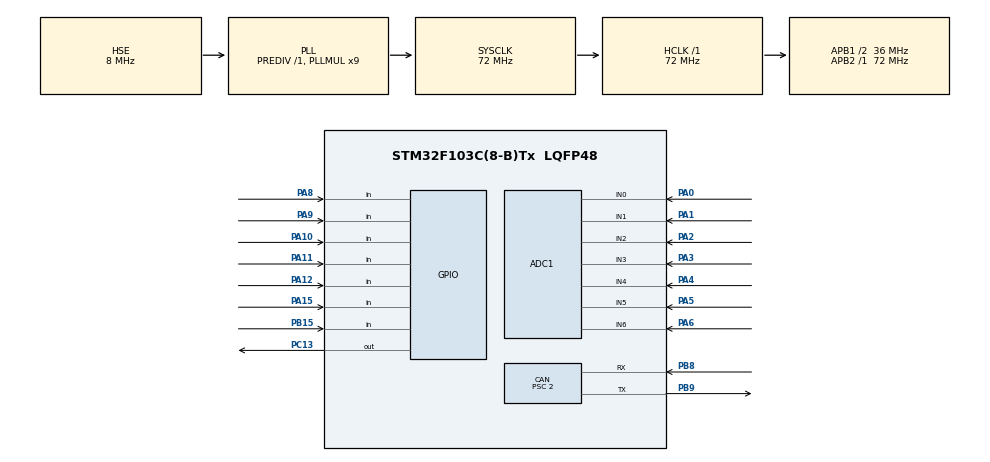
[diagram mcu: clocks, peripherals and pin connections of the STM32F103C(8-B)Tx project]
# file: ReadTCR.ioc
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ADC1.Channel-0\#ChannelRegularConversion=ADC_CHANNEL_0
ADC1.Channel-1\#ChannelRegularConversion=ADC_CHANNEL_1
ADC1.Channel-2\#ChannelRegularConversion=ADC_CHANNEL_2
ADC1.Channel-3\#ChannelRegularConversion=ADC_CHANNEL_3
ADC1.Channel-4\#ChannelRegularConversion=ADC_CHANNEL_4
ADC1.Channel-5\#ChannelRegularConversion=ADC_CHANNEL_5
ADC1.Channel-6\#ChannelRegularConversion=ADC_CHANNEL_6
ADC1.NbrOfConversion=7
ADC1.NbrOfConversionFlag=1
ADC1.Rank-0\#ChannelRegularConversion=1
ADC1.Rank-1\#ChannelRegularConversion=2
ADC1.Rank-2\#ChannelRegularConversion=3
ADC1.Rank-3\#ChannelRegularConversion=4
ADC1.Rank-4\#ChannelRegularConversion=5
ADC1.Rank-5\#ChannelRegularConversion=6
ADC1.Rank-6\#ChannelRegularConversion=7
ADC1.SamplingTime-0\#ChannelRegularConversion=ADC_SAMPLETIME_1CYCLE_5
ADC1.SamplingTime-1\#ChannelRegularConversion=ADC_SAMPLETIME_1CYCLE_5
ADC1.SamplingTime-2\#ChannelRegularConversion=ADC_SAMPLETIME_1CYCLE_5
ADC1.SamplingTime-3\#ChannelRegularConversion=ADC_SAMPLETIME_1CYCLE_5
ADC1.SamplingTime-4\#ChannelRegularConversion=ADC_SAMPLETIME_1CYCLE_5
ADC1.SamplingTime-5\#ChannelRegularConversion=ADC_SAMPLETIME_1CYCLE_5
ADC1.SamplingTime-6\#ChannelRegularConversion=ADC_SAMPLETIME_1CYCLE_5
ADC1.master=1
CAN.BS1=CAN_BS1_12TQ
CAN.BS2=CAN_BS2_8TQ
CAN.CalculateTimeBit=1166.66
CAN.CalculateTimeQuantum=55.55555555555556
CAN.Prescaler=2
Dma.ADC1.0.Direction=DMA_PERIPH_TO_MEMORY
Dma.ADC1.0.Instance=DMA1_Channel1
Dma.ADC1.0.MemDataAlignment=DMA_MDATAALIGN_HALFWORD
Dma.ADC1.0.MemInc=DMA_MINC_ENABLE
Dma.ADC1.0.Mode=DMA_CIRCULAR
Dma.ADC1.0.PeriphDataAlignment=DMA_PDATAALIGN_HALFWORD
Dma.ADC1.0.PeriphInc=DMA_PINC_DISABLE
Dma.ADC1.0.Priority=DMA_PRIORITY_MEDIUM
Dma.Request0=ADC1
Mcu.Family=STM32F1
Mcu.Name=STM32F103C(8-B)Tx
Mcu.Package=LQFP48
NVIC.CAN1_RX1_IRQn=true\:0\:0\:false\:false\:true\:true\:true
NVIC.DMA1_Channel1_IRQn=true\:1\:0\:true\:false\:true\:true\:true
NVIC.PriorityGroup=NVIC_PRIORITYGROUP_4
NVIC.TIM2_IRQn=true\:0\:0\:true\:false\:true\:true\:true
PA0-WKUP.Signal=ADCx_IN0
PA1.Signal=ADCx_IN1
PA10.GPIO_PuPd=GPIO_PULLDOWN
PA10.Signal=GPIO_Input
PA11.GPIO_PuPd=GPIO_PULLDOWN
PA11.Signal=GPIO_Input
PA12.GPIO_PuPd=GPIO_PULLDOWN
PA12.Signal=GPIO_Input
PA13.Mode=Serial_Wire
PA13.Signal=SYS_JTMS-SWDIO
PA14.Mode=Serial_Wire
PA14.Signal=SYS_JTCK-SWCLK
PA15.GPIO_PuPd=GPIO_PULLDOWN
PA15.Signal=GPIO_Input
PA2.Signal=ADCx_IN2
PA3.Signal=ADCx_IN3
PA4.Signal=ADCx_IN4
PA5.Signal=ADCx_IN5
PA6.Signal=ADCx_IN6
PA8.GPIO_PuPd=GPIO_PULLDOWN
PA8.Signal=GPIO_Input
PA9.GPIO_PuPd=GPIO_PULLDOWN
PA9.Signal=GPIO_Input
PB15.GPIO_PuPd=GPIO_PULLDOWN
PB15.Signal=GPIO_Input
PB8.GPIO_PuPd=GPIO_PULLUP
PB8.Mode=Master
PB8.Signal=CAN_RX
PB9.Mode=Master
PB9.Signal=CAN_TX
PC13-TAMPER-RTC.GPIO_PuPd=GPIO_PULLUP
PC13-TAMPER-RTC.GPIO_Speed=GPIO_SPEED_FREQ_HIGH
PC13-TAMPER-RTC.PinState=GPIO_PIN_SET
PC13-TAMPER-RTC.Signal=GPIO_Output
PD0-OSC_IN.Mode=HSE-External-Oscillator
PD0-OSC_IN.Signal=RCC_OSC_IN
PD1-OSC_OUT.Mode=HSE-External-Oscillator
PD1-OSC_OUT.Signal=RCC_OSC_OUT
ProjectManager.HeapSize=0x200
ProjectManager.StackSize=0x400
ProjectManager.TargetToolchain=STM32CubeIDE
RCC.ADCPresc=RCC_ADCPCLK2_DIV6
RCC.AHBFreq_Value=72000000
RCC.APB1CLKDivider=RCC_HCLK_DIV2
RCC.APB1Freq_Value=36000000
RCC.APB1TimFreq_Value=72000000
RCC.APB2Freq_Value=72000000
RCC.APB2TimFreq_Value=72000000
RCC.HCLKFreq_Value=72000000
RCC.PLLMUL=RCC_PLL_MUL9
RCC.PLLSourceVirtual=RCC_PLLSOURCE_HSE
RCC.SYSCLKFreq_VALUE=72000000
RCC.SYSCLKSource=RCC_SYSCLKSOURCE_PLLCLK
RCC.USBFreq_Value=72000000
SH.ADCx_IN0.0=ADC1_IN0,IN0
SH.ADCx_IN1.0=ADC1_IN1,IN1
SH.ADCx_IN2.0=ADC1_IN2,IN2
SH.ADCx_IN3.0=ADC1_IN3,IN3
SH.ADCx_IN4.0=ADC1_IN4,IN4
SH.ADCx_IN5.0=ADC1_IN5,IN5
SH.ADCx_IN6.0=ADC1_IN6,IN6
TIM2.AutoReloadPreload=TIM_AUTORELOAD_PRELOAD_ENABLE
TIM2.Period=999
TIM2.Prescaler=72
VP_TIM2_VS_ClockSourceINT.Mode=Internal
board=custom

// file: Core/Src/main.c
/* USER CODE BEGIN Header */
/**
  ******************************************************************************
  * @file           : main.c
  * @brief          : Main program body
  ******************************************************************************
  * @attention
  *
  * <h2><center>&copy; Copyright (c) 2020 STMicroelectronics.
  * All rights reserved.</center></h2>
  *
  * This software component is licensed by ST under BSD 3-Clause license,
  * the "License"; You may not use this file except in compliance with the
  * License. You may obtain a copy of the License at:
  *                        opensource.org/licenses/BSD-3-Clause
  *
  ******************************************************************************
  */
/* USER CODE END Header */
#include "main.h"

/* USER CODE BEGIN Includes */
#include <stdbool.h>
/* USER CODE END Includes */

ADC_HandleTypeDef hadc1;
DMA_HandleTypeDef hdma_adc1;

CAN_HandleTypeDef hcan;

TIM_HandleTypeDef htim2;

void SystemClock_Config(void);
static void MX_GPIO_Init(void);
static void MX_DMA_Init(void);
static void MX_ADC1_Init(void);
static void MX_TIM2_Init(void);
static void MX_CAN_Init(void);

/* USER CODE BEGIN 0 */

void float2byte(float float_input,uint8_t* data_in)
{
	union class1{
		float value_float;
		uint8_t data[4];
	};
	union class1 t;
	t.value_float=float_input;
	data_in[0]=t.data[0];
	data_in[1]=t.data[1];
	data_in[2]=t.data[2];
	data_in[3]=t.data[3];

}
void byte2float(float *floatout,uint8_t* datain)
{
	union class2{
		float value_float;
		uint8_t data[4];
	};
  union class2 t;
	t.data[0]=datain[0];
	t.data[1]=datain[1];
	t.data[2]=datain[2];
	t.data[3]=datain[3];
	*floatout=t.value_float;

}
void short2byte(uint16_t short_input,uint8_t* datain)
{
	union qshort2byte
	{
		uint16_t short_value;
		uint8_t data[2];
	};
	union qshort2byte tar;
	tar.short_value=short_input;
	datain[0]=tar.data[0];
	datain[1]=tar.data[1];
}
void byte2short(uint16_t* short_output,uint8_t* datain)
{
	union qbyte2short
	{
		uint16_t short_value;
		uint8_t data[2];

	};
	union qbyte2short tar;
	tar.data[0]=datain[0];
	tar.data[1]=datain[1];
	*short_output= tar.short_value;

}

#define TCR_ID 0x1D
#define ID_MAIN 0x2C
#define MOTOR1_ID 0x3A
#define MOTOR2_ID 0x4B
CAN_FilterTypeDef hcanfilter;
uint16_t _FilterIdHigh=0xFFFF;
uint16_t _IdHigh=TCR_ID;
CAN_RxHeaderTypeDef RxMessage; //CAN Bus Receive Header
CAN_TxHeaderTypeDef TxMessage;
uint8_t TX_Message[8] = {0,0,0,0,0,0,0,0};
uint8_t RX_Message[8] = {0,0,0,0,0,0,0,0};

void CANbus_Transmit(uint32_t StdID, uint8_t can_DLC,uint8_t* can_Data)
{
	uint32_t TransmitMailbox;
	TxMessage.StdId=StdID;
	TxMessage.ExtId=0;
	TxMessage.RTR=CAN_RTR_DATA;
	TxMessage.DLC=can_DLC;
	TxMessage.IDE=CAN_ID_STD;
	TxMessage.TransmitGlobalTime = DISABLE;
	HAL_CAN_AddTxMessage(&hcan, &TxMessage, can_Data, &TransmitMailbox);
	uint32_t k=0;
	while((HAL_CAN_IsTxMessagePending(&hcan, TransmitMailbox) != 1) && (k!=0xFFFF))
	{
		k++;

	}
}

void HAL_CAN_RxFifo1MsgPendingCallback(CAN_HandleTypeDef *hcan)
{
	HAL_CAN_GetRxMessage(hcan, CAN_RX_FIFO1, &RxMessage, RX_Message); //Receive CAN bus message to canRX buffer

	//HAL_GPIO_TogglePin(GPIOC, GPIO_PIN_13);
	if (RxMessage.StdId == TCR_ID)
	{

		if((RX_Message[0] == 'R') && (RX_Message[0] == 'S'))
		{
			HAL_TIM_Base_Start_IT(&htim2);
		}
		else if ((RX_Message[0] == 'S') && (RX_Message[0] == 'T'))
		{
			HAL_TIM_Base_Stop_IT(&htim2);
		}
		// Start TIMER2

	}

}

float position_final=0;

uint8_t positon_arr[4]={0};
float test_number =0;
float TCR1_xpos=-3,TCR2_xpos=-2,TCR3_xpos=-1,TCR4_xpos=0,TCR5_xpos=1,TCR6_xpos=2,TCR7_xpos=3;
uint16_t DATA_TCR[7]={0,0,0,0,0,0,0};

uint8_t TCR1_Status=0;
uint8_t TCR2_Status=0;
uint8_t TCR3_Status=0;
uint8_t TCR4_Status=0;
uint8_t TCR5_Status=0;
uint8_t TCR6_Status=0;
uint8_t TCR7_Status=0;
uint8_t TCR_status=0;

uint16_t PRE_DATA_TCR[7]={0,0,0,0,0,0,0};
uint16_t TCR_min[7]={125,180,150,180,175,210,190};
uint16_t TCR_max[7]={3100,3160,2900,3280,3348,3280,3400};
uint16_t ymax=3000,ymin=100;
void calibrate_linesensor(void)
{
	for(uint8_t i=0;i<7;i++)
	{
		DATA_TCR[i]=(uint16_t)(ymin+1.0*(ymax-ymin)*(PRE_DATA_TCR[i]-TCR_min[i])/(TCR_max[i]-TCR_min[i])*1.0);
	}

}

void HAL_TIM_PeriodElapsedCallback(TIM_HandleTypeDef *htim)
{

	if(htim->Instance == TIM2)
	{
		HAL_GPIO_TogglePin(GPIOC,GPIO_PIN_13);
		  TCR_status=0x00;

		 // HAL_ADC_Start_DMA(&hadc1, (uint32_t*)&DATA_TCR, 7);
		  HAL_ADC_Start_DMA(&hadc1, (uint32_t*)&PRE_DATA_TCR, 7);
		  TCR1_Status=HAL_GPIO_ReadPin(GPIOB, GPIO_PIN_15);
		  TCR2_Status=HAL_GPIO_ReadPin(GPIOA, GPIO_PIN_8);
		  TCR3_Status=HAL_GPIO_ReadPin(GPIOA, GPIO_PIN_9);
		  TCR4_Status=HAL_GPIO_ReadPin(GPIOA, GPIO_PIN_10);
		  TCR5_Status=HAL_GPIO_ReadPin(GPIOA, GPIO_PIN_11);
		  TCR6_Status=HAL_GPIO_ReadPin(GPIOA, GPIO_PIN_12);
		  TCR7_Status=HAL_GPIO_ReadPin(GPIOA, GPIO_PIN_15);

		  calibrate_linesensor();

		  TCR_status= TCR_status|(TCR1_Status<<6);
		  TCR_status= TCR_status|(TCR2_Status<<5);
		  TCR_status= TCR_status|(TCR3_Status<<4);
		  TCR_status= TCR_status|(TCR4_Status<<3);
		  TCR_status= TCR_status|(TCR5_Status<<2);
		  TCR_status= TCR_status|(TCR6_Status<<1);
		  TCR_status= TCR_status|(TCR7_Status<<0);

		//  position_final = 3.14;
		  position_final =(float)((-3.0*DATA_TCR[0]-2.0*DATA_TCR[1]-1.0*DATA_TCR[2]+0.0*DATA_TCR[3]+1.0*DATA_TCR[4]+2.0*DATA_TCR[5]+3.0*DATA_TCR[6])/(1.0*DATA_TCR[0]+1.0*DATA_TCR[1]+1.0*DATA_TCR[2]+1.0*DATA_TCR[3]+1.0*DATA_TCR[4]+1.0*DATA_TCR[5]+1.0*DATA_TCR[6]));
		  float2byte(position_final, positon_arr);
		 // byte2float(&test_number, positon_arr);

		  TX_Message[0] = 'L';
		  TX_Message[1] = 'S';
		  TX_Message[2] = positon_arr[0];
		  TX_Message[3] = positon_arr[1];
		  TX_Message[4] = positon_arr[2];
		  TX_Message[5] = positon_arr[3];
		  TX_Message[6] = TCR_status;
		  TX_Message[7] = 0x00;

		  CANbus_Transmit(ID_MAIN,8,TX_Message);

	}
}

/* USER CODE END 0 */

int main(void)
{

  /* MCU Configuration--------------------------------------------------------*/

  /* Reset of all peripherals, Initializes the Flash interface and the Systick. */
  HAL_Init();

  /* Configure the system clock */
  SystemClock_Config();

  /* Initialize all configured peripherals */
  MX_GPIO_Init();
  MX_DMA_Init();
  MX_ADC1_Init();
  MX_TIM2_Init();
  MX_CAN_Init();
  /* USER CODE BEGIN 2 */
  //HAL_TIM_Base_Stop(&htim2);
  HAL_TIM_Base_Start_IT(&htim2);
  HAL_Delay(1000);
  /* USER CODE END 2 */

  /* Infinite loop */
  while (1)
  {

    /* USER CODE BEGIN 3 */

	  //HAL_Delay(500);
  }
  /* USER CODE END 3 */
}

void SystemClock_Config(void)
{
  RCC_OscInitTypeDef RCC_OscInitStruct = {0};
  RCC_ClkInitTypeDef RCC_ClkInitStruct = {0};
  RCC_PeriphCLKInitTypeDef PeriphClkInit = {0};

  /** Initializes the RCC Oscillators according to the specified parameters
  * in the RCC_OscInitTypeDef structure.
  */
  RCC_OscInitStruct.OscillatorType = RCC_OSCILLATORTYPE_HSE;
  RCC_OscInitStruct.HSEState = RCC_HSE_ON;
  RCC_OscInitStruct.HSEPredivValue = RCC_HSE_PREDIV_DIV1;
  RCC_OscInitStruct.HSIState = RCC_HSI_ON;
  RCC_OscInitStruct.PLL.PLLState = RCC_PLL_ON;
  RCC_OscInitStruct.PLL.PLLSource = RCC_PLLSOURCE_HSE;
  RCC_OscInitStruct.PLL.PLLMUL = RCC_PLL_MUL9;
  if (HAL_RCC_OscConfig(&RCC_OscInitStruct) != HAL_OK)
  {
    Error_Handler();
  }
  /** Initializes the CPU, AHB and APB buses clocks
  */
  RCC_ClkInitStruct.ClockType = RCC_CLOCKTYPE_HCLK|RCC_CLOCKTYPE_SYSCLK
                              |RCC_CLOCKTYPE_PCLK1|RCC_CLOCKTYPE_PCLK2;
  RCC_ClkInitStruct.SYSCLKSource = RCC_SYSCLKSOURCE_PLLCLK;
  RCC_ClkInitStruct.AHBCLKDivider = RCC_SYSCLK_DIV1;
  RCC_ClkInitStruct.APB1CLKDivider = RCC_HCLK_DIV2;
  RCC_ClkInitStruct.APB2CLKDivider = RCC_HCLK_DIV1;

  if (HAL_RCC_ClockConfig(&RCC_ClkInitStruct, FLASH_LATENCY_2) != HAL_OK)
  {
    Error_Handler();
  }
  PeriphClkInit.PeriphClockSelection = RCC_PERIPHCLK_ADC;
  PeriphClkInit.AdcClockSelection = RCC_ADCPCLK2_DIV6;
  if (HAL_RCCEx_PeriphCLKConfig(&PeriphClkInit) != HAL_OK)
  {
    Error_Handler();
  }
}

static void MX_ADC1_Init(void)
{

  ADC_ChannelConfTypeDef sConfig = {0};

  /** Common config
  */
  hadc1.Instance = ADC1;
  hadc1.Init.ScanConvMode = ADC_SCAN_ENABLE;
  hadc1.Init.ContinuousConvMode = DISABLE;
  hadc1.Init.DiscontinuousConvMode = DISABLE;
  hadc1.Init.ExternalTrigConv = ADC_SOFTWARE_START;
  hadc1.Init.DataAlign = ADC_DATAALIGN_RIGHT;
  hadc1.Init.NbrOfConversion = 7;
  if (HAL_ADC_Init(&hadc1) != HAL_OK)
  {
    Error_Handler();
  }
  /** Configure Regular Channel
  */
  sConfig.Channel = ADC_CHANNEL_0;
  sConfig.Rank = ADC_REGULAR_RANK_1;
  sConfig.SamplingTime = ADC_SAMPLETIME_1CYCLE_5;
  if (HAL_ADC_ConfigChannel(&hadc1, &sConfig) != HAL_OK)
  {
    Error_Handler();
  }
  /** Configure Regular Channel
  */
  sConfig.Channel = ADC_CHANNEL_1;
  sConfig.Rank = ADC_REGULAR_RANK_2;
  if (HAL_ADC_ConfigChannel(&hadc1, &sConfig) != HAL_OK)
  {
    Error_Handler();
  }
  /** Configure Regular Channel
  */
  sConfig.Channel = ADC_CHANNEL_2;
  sConfig.Rank = ADC_REGULAR_RANK_3;
  if (HAL_ADC_ConfigChannel(&hadc1, &sConfig) != HAL_OK)
  {
    Error_Handler();
  }
  /** Configure Regular Channel
  */
  sConfig.Channel = ADC_CHANNEL_3;
  sConfig.Rank = ADC_REGULAR_RANK_4;
  if (HAL_ADC_ConfigChannel(&hadc1, &sConfig) != HAL_OK)
  {
    Error_Handler();
  }
  /** Configure Regular Channel
  */
  sConfig.Channel = ADC_CHANNEL_4;
  sConfig.Rank = ADC_REGULAR_RANK_5;
  if (HAL_ADC_ConfigChannel(&hadc1, &sConfig) != HAL_OK)
  {
    Error_Handler();
  }
  /** Configure Regular Channel
  */
  sConfig.Channel = ADC_CHANNEL_5;
  sConfig.Rank = ADC_REGULAR_RANK_6;
  if (HAL_ADC_ConfigChannel(&hadc1, &sConfig) != HAL_OK)
  {
    Error_Handler();
  }
  /** Configure Regular Channel
  */
  sConfig.Channel = ADC_CHANNEL_6;
  sConfig.Rank = ADC_REGULAR_RANK_7;
  if (HAL_ADC_ConfigChannel(&hadc1, &sConfig) != HAL_OK)
  {
    Error_Handler();
  }

}

static void MX_CAN_Init(void)
{

  hcan.Instance = CAN1;
  hcan.Init.Prescaler = 2;
  hcan.Init.Mode = CAN_MODE_NORMAL;
  hcan.Init.SyncJumpWidth = CAN_SJW_1TQ;
  hcan.Init.TimeSeg1 = CAN_BS1_12TQ;
  hcan.Init.TimeSeg2 = CAN_BS2_8TQ;
  hcan.Init.TimeTriggeredMode = DISABLE;
  hcan.Init.AutoBusOff = DISABLE;
  hcan.Init.AutoWakeUp = DISABLE;
  hcan.Init.AutoRetransmission = DISABLE;
  hcan.Init.ReceiveFifoLocked = DISABLE;
  hcan.Init.TransmitFifoPriority = DISABLE;
  if (HAL_CAN_Init(&hcan) != HAL_OK)
  {
    Error_Handler();
  }
  /* USER CODE BEGIN CAN_Init 2 */
  hcanfilter.FilterActivation=CAN_FILTER_ENABLE;
  hcanfilter.FilterMode=CAN_FILTERMODE_IDMASK;
  hcanfilter.FilterScale=CAN_FILTERSCALE_16BIT;
  hcanfilter.FilterMaskIdHigh=(_FilterIdHigh << 5);
  hcanfilter.FilterMaskIdLow=0x0000;

  hcanfilter.FilterBank=2;
  hcanfilter.FilterIdHigh=_IdHigh;
  hcanfilter.FilterIdLow=0x0000;
  hcanfilter.FilterFIFOAssignment=CAN_FILTER_FIFO1;
  hcanfilter.SlaveStartFilterBank=14;

  HAL_CAN_ConfigFilter(&hcan,&hcanfilter); //Initialize CAN Filter
  HAL_CAN_Start(&hcan); //Initialize CAN Bus
  HAL_CAN_ActivateNotification(&hcan,CAN_IT_RX_FIFO1_MSG_PENDING);// Initialize
  /* USER CODE END CAN_Init 2 */

}

static void MX_TIM2_Init(void)
{

  TIM_ClockConfigTypeDef sClockSourceConfig = {0};
  TIM_MasterConfigTypeDef sMasterConfig = {0};

  htim2.Instance = TIM2;
  htim2.Init.Prescaler = 72;
  htim2.Init.CounterMode = TIM_COUNTERMODE_UP;
  htim2.Init.Period = 999;
  htim2.Init.ClockDivision = TIM_CLOCKDIVISION_DIV1;
  htim2.Init.AutoReloadPreload = TIM_AUTORELOAD_PRELOAD_ENABLE;
  if (HAL_TIM_Base_Init(&htim2) != HAL_OK)
  {
    Error_Handler();
  }
  sClockSourceConfig.ClockSource = TIM_CLOCKSOURCE_INTERNAL;
  if (HAL_TIM_ConfigClockSource(&htim2, &sClockSourceConfig) != HAL_OK)
  {
    Error_Handler();
  }
  sMasterConfig.MasterOutputTrigger = TIM_TRGO_RESET;
  sMasterConfig.MasterSlaveMode = TIM_MASTERSLAVEMODE_DISABLE;
  if (HAL_TIMEx_MasterConfigSynchronization(&htim2, &sMasterConfig) != HAL_OK)
  {
    Error_Handler();
  }

}

static void MX_DMA_Init(void)
{

  /* DMA controller clock enable */
  __HAL_RCC_DMA1_CLK_ENABLE();

  /* DMA interrupt init */
  /* DMA1_Channel1_IRQn interrupt configuration */
  HAL_NVIC_SetPriority(DMA1_Channel1_IRQn, 1, 0);
  HAL_NVIC_EnableIRQ(DMA1_Channel1_IRQn);

}

static void MX_GPIO_Init(void)
{
  GPIO_InitTypeDef GPIO_InitStruct = {0};

  /* GPIO Ports Clock Enable */
  __HAL_RCC_GPIOC_CLK_ENABLE();
  __HAL_RCC_GPIOD_CLK_ENABLE();
  __HAL_RCC_GPIOA_CLK_ENABLE();
  __HAL_RCC_GPIOB_CLK_ENABLE();

  /*Configure GPIO pin Output Level */
  HAL_GPIO_WritePin(GPIOC, GPIO_PIN_13, GPIO_PIN_SET);

  /*Configure GPIO pin : PC13 */
  GPIO_InitStruct.Pin = GPIO_PIN_13;
  GPIO_InitStruct.Mode = GPIO_MODE_OUTPUT_PP;
  GPIO_InitStruct.Pull = GPIO_PULLUP;
  GPIO_InitStruct.Speed = GPIO_SPEED_FREQ_HIGH;
  HAL_GPIO_Init(GPIOC, &GPIO_InitStruct);

  /*Configure GPIO pin : PB15 */
  GPIO_InitStruct.Pin = GPIO_PIN_15;
  GPIO_InitStruct.Mode = GPIO_MODE_INPUT;
  GPIO_InitStruct.Pull = GPIO_PULLDOWN;
  HAL_GPIO_Init(GPIOB, &GPIO_InitStruct);

  /*Configure GPIO pins : PA8 PA9 PA10 PA11
                           PA12 PA15 */
  GPIO_InitStruct.Pin = GPIO_PIN_8|GPIO_PIN_9|GPIO_PIN_10|GPIO_PIN_11
                          |GPIO_PIN_12|GPIO_PIN_15;
  GPIO_InitStruct.Mode = GPIO_MODE_INPUT;
  GPIO_InitStruct.Pull = GPIO_PULLDOWN;
  HAL_GPIO_Init(GPIOA, &GPIO_InitStruct);

}

void Error_Handler(void)
{
}

/************************ (C) COPYRIGHT STMicroelectronics *****END OF FILE****/
